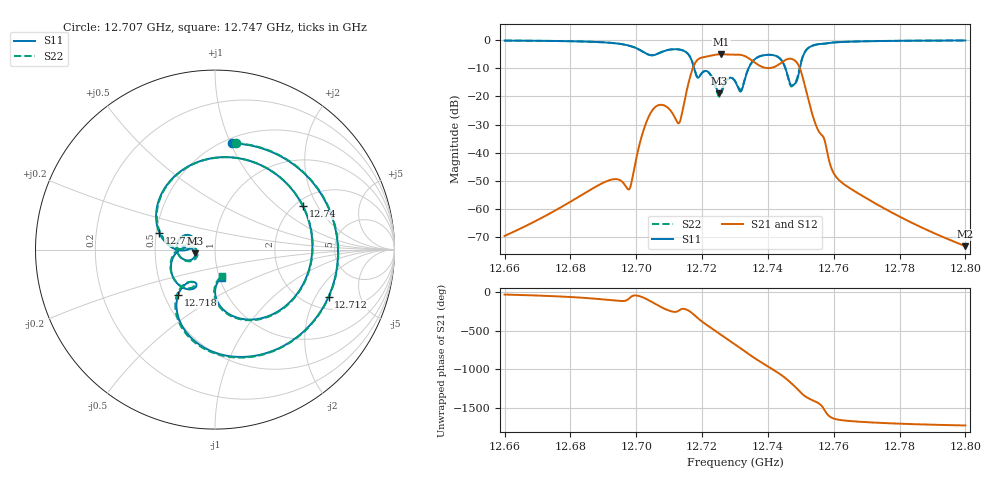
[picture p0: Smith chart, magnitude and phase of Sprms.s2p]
! TOUCHSTONE file generated by CST MICROWAVE STUDIO
! Date and time: Wed Jul 31 10:34:30 2024
! Project name: WaveGuide_BPF-Ver4.1_U-shape_Ku_T3_C4_CWA_2.cst
! Parameters = {cavity_h=16; cavity_l0=10; cavity_l1=15.2223; cavity_l2=16.8534; cavity_l3=17.1243; cavity_l4=17.257; cavity_l5=17.1229; cavity_l6=17.5688; cavity_r=2.5; cavity_screw_l=0.5; cavity_screw_r=1.5; cavity_w=8; iris_h00=0; iris_h01=8.8082; iris_h112=0; iris_h12=5.6076; iris_h211=3.6561; i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
! Header version: 2018
! Port assignment regex: !\s*Touchstone port\s*([0-9]+)\s*=\s*(CST MWS port|CST DS port)\s*([0-9]+|Zmin|Zmax)\s*\(\"(.*)\"\)(\s*mode\s*([0-9]+))?.*
! Touchstone port assignment:
! Touchstone port 1 = CST MWS port 1 ("")
! Touchstone port 2 = CST MWS port 2 ("")
# GHz S RI R 50
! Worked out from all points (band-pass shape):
!   5001 points, 12.66 GHz to 12.8 GHz, reference 50 ohm
!   highest |S21| = -5.06 dB at 12.726 GHz (marker M1); lowest = -73.2 dB at 12.8 GHz (marker M2)
!   |S21| within 3 dB of the highest: 12.71794 GHz to 12.73605 GHz (18.11 MHz wide, 0.142 % of centre); 12.74409 GHz to 12.74884 GHz (4.746 MHz wide, 0.0372 % of centre)
!   lowest |S11| = -19.0 dB at 12.725 GHz (marker M3), VSWR 1.25, Z = 40 - j1.65 ohm
!   |S11| at or under -10 dB: 12.71758 GHz to 12.73415 GHz (16.56 MHz wide, 0.13 % of centre); 12.74532 GHz to 12.7497 GHz (4.385 MHz wide, 0.0344 % of centre)
!   |S22| runs from -20.1 to -0.2 dB; largest |S21 - S12| = 1e-09
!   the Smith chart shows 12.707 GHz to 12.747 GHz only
!   S11 on the Smith chart (normalised r, x): 12.707 GHz: 0.55, +1.01; 12.712 GHz: 2.61, -2.58; 12.718 GHz: 0.59, -0.33; 12.734 GHz: 0.52, +0.11; 12.74 GHz: 2.20, +1.52; 12.747 GHz: 1.02, -0.33
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12.66  0.3836 0.8997  0.000296 -0.000154  0.000296 -0.000154  0.3884 0.8976
12.68335  0.8348 0.44  0.000654 -0.00164  0.000654 -0.00164  0.838 0.4335
12.69377  0.8392 -0.2451  -0.00101 -0.00325  -0.00101 -0.00325  0.8345 -0.2566
12.69982  0.1576 -0.7089  0.00548 -0.00444  0.00548 -0.00444  0.1344 -0.7096
12.70365  -0.5345 -0.141  -0.00617 -0.0416  -0.00617 -0.0416  -0.5402 -0.11
12.70668  -0.1 0.5657  -0.0688 -0.0107  -0.0688 -0.0107  -0.0755 0.5749
12.70738  0.0921 0.5921  -0.0704 0.00855  -0.0704 0.00855  0.116 0.5933
12.71236  0.633 -0.262  -0.0129 0.033  -0.0129 0.033  0.6294 -0.2746
12.71751  -0.2058 -0.254  0.1113 0.3342  0.1113 0.3342  -0.2128 -0.2545
12.72213  -0.2455 -0.092  0.0623 -0.5159  0.0623 -0.5159  -0.2477 -0.0756
12.72524  -0.1108 -0.0204  -0.5556 -0.0467  -0.5556 -0.0467  -0.0973 -0.017
12.7258  -0.1155 -0.043  -0.5467 0.1143  -0.5467 0.1143  -0.1026 -0.0434
12.73  -0.1678 0.0802  0.3735 0.4062  0.3735 0.4062  -0.1728 0.0745
12.73423  -0.3102 0.0939  0.0688 -0.4666  0.0688 -0.4666  -0.31 0.1062
12.74016  0.49 0.2414  -0.1362 0.2865  -0.1362 0.2865  0.4969 0.2293
12.74445  0.1423 -0.3843  0.4085 -0.0221  0.4085 -0.0221  0.1329 -0.3864
12.74691  0.0366 -0.1569  -0.00229 -0.4655  -0.00229 -0.4655  0.0379 -0.149
12.75008  0.3563 -0.171  -0.1995 0.1867  -0.1995 0.1867  0.3626 -0.1911
12.75335  0.1844 -0.7629  0.0363 0.0361  0.0363 0.0361  0.1692 -0.7698
12.76083  -0.5641 -0.7177  -0.00328 0.00162  -0.00328 0.00162  -0.5728 -0.7116
12.77668  -0.9549 -0.1368  -0.0002 0.000909  -0.0002 0.000909  -0.9561 -0.1292
12.8  -0.9292 0.3198  6.07e-05 0.000211  6.07e-05 0.000211  -0.9271 0.326
